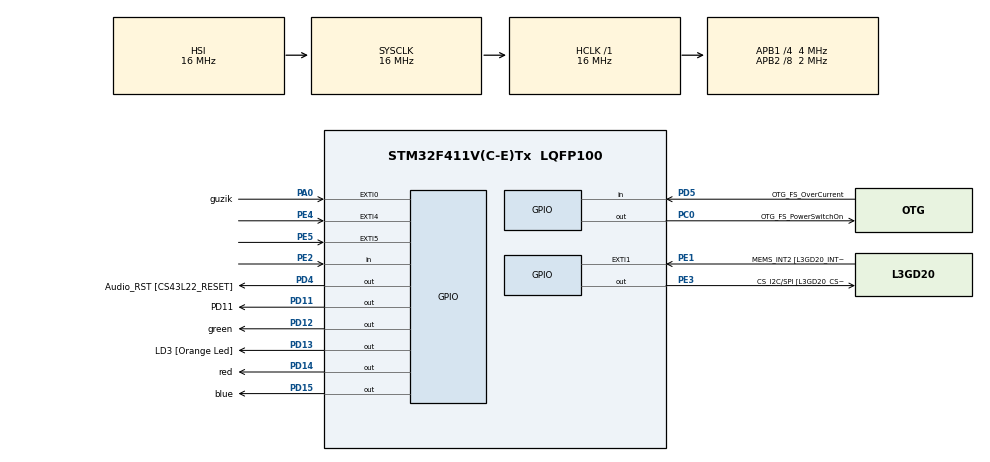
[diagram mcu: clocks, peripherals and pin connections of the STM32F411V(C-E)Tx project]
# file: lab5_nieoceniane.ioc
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ADC1.Channel-0\#ChannelRegularConversion=ADC_CHANNEL_TEMPSENSOR
ADC1.ClockPrescaler=ADC_CLOCK_SYNC_PCLK_DIV2
ADC1.ContinuousConvMode=ENABLE
ADC1.DMAContinuousRequests=ENABLE
ADC1.NbrOfConversionFlag=1
ADC1.Rank-0\#ChannelRegularConversion=1
ADC1.SamplingTime-0\#ChannelRegularConversion=ADC_SAMPLETIME_3CYCLES
ADC1.master=1
Dma.ADC1.0.Direction=DMA_PERIPH_TO_MEMORY
Dma.ADC1.0.FIFOMode=DMA_FIFOMODE_DISABLE
Dma.ADC1.0.Instance=DMA2_Stream0
Dma.ADC1.0.MemDataAlignment=DMA_MDATAALIGN_HALFWORD
Dma.ADC1.0.MemInc=DMA_MINC_ENABLE
Dma.ADC1.0.Mode=DMA_CIRCULAR
Dma.ADC1.0.PeriphDataAlignment=DMA_PDATAALIGN_HALFWORD
Dma.ADC1.0.PeriphInc=DMA_PINC_DISABLE
Dma.ADC1.0.Priority=DMA_PRIORITY_LOW
Dma.Request0=ADC1
Mcu.Family=STM32F4
Mcu.Name=STM32F411V(C-E)Tx
Mcu.Package=LQFP100
NVIC.DMA2_Stream0_IRQn=true\:0\:0\:false\:false\:true\:false\:true\:true
NVIC.EXTI0_IRQn=true\:0\:0\:false\:false\:true\:true\:true\:true
NVIC.PriorityGroup=NVIC_PRIORITYGROUP_0
PA0-WKUP.GPIO_Label=guzik
PA0-WKUP.GPIO_ModeDefaultEXTI=GPIO_MODE_IT_RISING
PA0-WKUP.Signal=GPXTI0
PA10.GPIO_Label=OTG_FS_ID
PA10.Signal=USB_OTG_FS_ID
PA11.GPIO_Label=OTG_FS_DM
PA11.Signal=USB_OTG_FS_DM
PA12.GPIO_Label=OTG_FS_DP
PA12.Signal=USB_OTG_FS_DP
PA13.GPIO_Label=SWDIO
PA13.Signal=SYS_JTMS-SWDIO
PA14.GPIO_Label=SWCLK
PA14.Signal=SYS_JTCK-SWCLK
PA4.GPIO_Label=I2S3_WS [CS43L22_LRCK]
PA4.GPIO_Mode=GPIO_MODE_AF_PP
PA4.GPIO_PuPd=GPIO_NOPULL
PA4.GPIO_Speed=GPIO_SPEED_FREQ_LOW
PA4.Signal=I2S3_WS
PA5.GPIO_Label=SPI1_SCK [L3GD20_SC/SPC]
PA5.Signal=SPI1_SCK
PA6.GPIO_Label=SPI1_MISO [L3GD20_AS0/SDO]
PA6.Signal=SPI1_MISO
PA7.GPIO_Label=SPI1_MOSI [L3GD20_SDA/SDI/SDO]
PA7.Signal=SPI1_MOSI
PA9.GPIO_Label=VBUS_FS
PA9.Signal=USB_OTG_FS_VBUS
PB10.GPIO_Label=CLK_IN [MP45DT02_CLK]
PB10.Signal=I2S2_CK
PB12.Signal=I2S2_WS
PB3.GPIO_Label=SWO
PB3.Signal=SYS_JTDO-SWO
PB6.GPIO_Label=Audio_SCL [CS43L22_SCL]
PB6.GPIO_Mode=GPIO_MODE_AF_OD
PB6.GPIO_PuPd=GPIO_NOPULL
PB6.GPIO_Speed=GPIO_SPEED_FREQ_LOW
PB6.Signal=I2C1_SCL
PB9.GPIO_Label=Audio_SDA [CS43L22_SDA]
PB9.GPIO_Mode=GPIO_MODE_AF_OD
PB9.GPIO_PuPd=GPIO_NOPULL
PB9.GPIO_Speed=GPIO_SPEED_FREQ_LOW
PB9.Signal=I2C1_SDA
PC0.GPIO_Label=OTG_FS_PowerSwitchOn
PC0.PinState=GPIO_PIN_SET
PC0.Signal=GPIO_Output
PC10.GPIO_Label=I2S3_SCK [CS43L22_SCLK]
PC10.GPIO_Mode=GPIO_MODE_AF_PP
PC10.GPIO_PuPd=GPIO_NOPULL
PC10.GPIO_Speed=GPIO_SPEED_FREQ_LOW
PC10.Signal=I2S3_CK
PC12.GPIO_Label=I2S3_SD [CS43L22_SDIN]
PC12.GPIO_Mode=GPIO_MODE_AF_PP
PC12.GPIO_PuPd=GPIO_NOPULL
PC12.GPIO_Speed=GPIO_SPEED_FREQ_LOW
PC12.Signal=I2S3_SD
PC14-OSC32_IN.GPIO_Label=PC14-OSC32_IN
PC14-OSC32_IN.Signal=RCC_OSC32_IN
PC15-OSC32_OUT.GPIO_Label=PC15-OSC32_OUT
PC15-OSC32_OUT.Signal=RCC_OSC32_OUT
PC3.GPIO_Label=PDM_OUT [MP45DT02_DOUT]
PC3.Signal=I2S2_SD
PC7.GPIO_Label=I2S3_MCK [CS43L22_MCLK]
PC7.GPIO_Mode=GPIO_MODE_AF_PP
PC7.GPIO_PuPd=GPIO_NOPULL
PC7.GPIO_Speed=GPIO_SPEED_FREQ_LOW
PC7.Signal=I2S3_MCK
PD11.GPIO_Label=PD11
PD11.Signal=GPIO_Output
PD12.GPIO_Label=green
PD12.GPIO_PuPd=GPIO_NOPULL
PD12.GPIO_Speed=GPIO_SPEED_FREQ_LOW
PD12.Signal=GPIO_Output
PD13.GPIO_Label=LD3 [Orange Led]
PD13.GPIO_PuPd=GPIO_NOPULL
PD13.GPIO_Speed=GPIO_SPEED_FREQ_LOW
PD13.Signal=GPIO_Output
PD14.GPIO_Label=red
PD14.GPIO_PuPd=GPIO_NOPULL
PD14.GPIO_Speed=GPIO_SPEED_FREQ_LOW
PD14.Signal=GPIO_Output
PD15.GPIO_Label=blue
PD15.GPIO_PuPd=GPIO_NOPULL
PD15.GPIO_Speed=GPIO_SPEED_FREQ_LOW
PD15.Signal=GPIO_Output
PD4.GPIO_Label=Audio_RST [CS43L22_RESET]
PD4.Signal=GPIO_Output
PD5.GPIO_Label=OTG_FS_OverCurrent
PD5.Signal=GPIO_Input
PE1.GPIO_Label=MEMS_INT2 [L3GD20_INT2]
PE1.GPIO_ModeDefaultEXTI=GPIO_MODE_EVT_RISING
PE1.Signal=GPXTI1
PE2.Signal=GPIO_Input
PE3.GPIO_Label=CS_I2C/SPI [L3GD20_CS_I2C/SPI]
PE3.Signal=GPIO_Output
PE4.GPIO_ModeDefaultEXTI=GPIO_MODE_EVT_RISING
PE4.Signal=GPXTI4
PE5.GPIO_ModeDefaultEXTI=GPIO_MODE_EVT_RISING
PE5.Signal=GPXTI5
PH0\ -\ OSC_IN.GPIO_Label=PH0-OSC_IN
PH0\ -\ OSC_IN.Signal=RCC_OSC_IN
PH1\ -\ OSC_OUT.GPIO_Label=PH1-OSC_OUT
PH1\ -\ OSC_OUT.Signal=RCC_OSC_OUT
ProjectManager.HeapSize=0x200
ProjectManager.StackSize=0x400
ProjectManager.TargetToolchain=STM32CubeIDE
RCC.48MHZClocksFreq_Value=32000000
RCC.AHBFreq_Value=16000000
RCC.APB1CLKDivider=RCC_HCLK_DIV4
RCC.APB1Freq_Value=4000000
RCC.APB1TimFreq_Value=8000000
RCC.APB2CLKDivider=RCC_HCLK_DIV8
RCC.APB2Freq_Value=2000000
RCC.APB2TimFreq_Value=4000000
RCC.CortexFreq_Value=2000000
RCC.Cortex_Div=SYSTICK_CLKSOURCE_HCLK_DIV8
RCC.HCLKFreq_Value=16000000
RCC.HSE_VALUE=8000000
RCC.HSI_VALUE=16000000
RCC.LSE_VALUE=32768
RCC.PLLI2SM=5
RCC.PLLI2SN=200
RCC.PLLM=4
RCC.PLLN=64
RCC.PLLQ=8
RCC.RCC_RTC_Clock_Source_FROM_HSE=RCC_RTCCLKSOURCE_HSE_DIV30
RCC.SYSCLKFreq_VALUE=16000000
RCC.VCOOutputFreq_Value=256000000
VP_ADC1_TempSens_Input.Mode=IN-TempSens
VP_RTC_VS_RTC_Activate.Mode=RTC_Enabled
VP_TIM2_VS_ClockSourceINT.Mode=Internal
board=STM32F411E-DISCO

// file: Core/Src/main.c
/* USER CODE BEGIN Header */
/**
  ******************************************************************************
  * @file           : main.c
  * @brief          : Main program body
  ******************************************************************************
  * @attention
  *
  * Copyright (c) 2023 STMicroelectronics.
  * All rights reserved.
  *
  * This software is licensed under terms that can be found in the LICENSE file
  * in the root directory of this software component.
  * If no LICENSE file comes with this software, it is provided AS-IS.
  *
  ******************************************************************************
  */
/* USER CODE END Header */
#include "main.h"

ADC_HandleTypeDef hadc1;
DMA_HandleTypeDef hdma_adc1;

RTC_HandleTypeDef hrtc;

TIM_HandleTypeDef htim2;

void SystemClock_Config(void);
static void MX_GPIO_Init(void);
static void MX_DMA_Init(void);
static void MX_RTC_Init(void);
static void MX_ADC1_Init(void);
static void MX_TIM2_Init(void);

/* USER CODE BEGIN 0 */
uint32_t hash(uint32_t x)
{
	uint32_t y;
	for(int i = 0; i<20; i++)
	{
		y = pow(i,100)*i;
		x++;
		y = y * x%7;
	}
	return y%2;
}

uint16_t dane[16];
/* USER CODE END 0 */

int main(void)
{

  /* MCU Configuration--------------------------------------------------------*/

  /* Reset of all peripherals, Initializes the Flash interface and the Systick. */
  HAL_Init();

  /* Configure the system clock */
  SystemClock_Config();

  /* Initialize all configured peripherals */
  MX_GPIO_Init();
  MX_DMA_Init();
  MX_RTC_Init();
  MX_ADC1_Init();
  MX_TIM2_Init();
  /* USER CODE BEGIN 2 */
  HAL_TIM_Base_Start(&htim2);
   HAL_ADC_Start_DMA(&hadc1, &dane, 12);
  /* USER CODE END 2 */

  /* Infinite loop */
  /* USER CODE BEGIN WHILE */
  while (1)
  {
	 for(int i=0; i<14; i++)
	  {
		  //HAL_GPIO_TogglePin(blue_GPIO_Port, blue_Pin);
		 uint32_t o = hash(12345*i*i*i);
		 HAL_GPIO_WritePin(PD11_GPIO_Port, PD11_Pin, o);
		  HAL_Delay(200);
	 }

	 //HAL_SuspendTick();
	 //HAL_PWR_EnterSLEEPMode(PWR_MAINREGULATOR_ON, PWR_SLEEPENTRY_WFI);
	 //HAL_PWR_EnterSTOPMode(PWR_LOWPOWERREGULATOR_ON, PWR_STOPENTRY_WFI);

__HAL_PWR_CLEAR_FLAG(PWR_FLAG_WU);
__HAL_RTC_WAKEUPTIMER_CLEAR_FLAG(&hrtc, RTC_FLAG_WUTF);
//HAL_PWR_EnableWakeUpPin(PWR_WAKEUP_PIN1);
HAL_RTCEx_SetWakeUpTimer_IT(&hrtc, 1000, RTC_WAKEUPCLOCK_RTCCLK_DIV16);
HAL_PWR_EnterSTANDBYMode();

    /* USER CODE END WHILE */

  }
}

void SystemClock_Config(void)
{
  RCC_OscInitTypeDef RCC_OscInitStruct = {0};
  RCC_ClkInitTypeDef RCC_ClkInitStruct = {0};

  /** Configure the main internal regulator output voltage
  */
  __HAL_RCC_PWR_CLK_ENABLE();
  __HAL_PWR_VOLTAGESCALING_CONFIG(PWR_REGULATOR_VOLTAGE_SCALE1);

  /** Initializes the RCC Oscillators according to the specified parameters
  * in the RCC_OscInitTypeDef structure.
  */
  RCC_OscInitStruct.OscillatorType = RCC_OSCILLATORTYPE_HSI|RCC_OSCILLATORTYPE_LSI;
  RCC_OscInitStruct.HSIState = RCC_HSI_ON;
  RCC_OscInitStruct.HSICalibrationValue = RCC_HSICALIBRATION_DEFAULT;
  RCC_OscInitStruct.LSIState = RCC_LSI_ON;
  RCC_OscInitStruct.PLL.PLLState = RCC_PLL_NONE;
  if (HAL_RCC_OscConfig(&RCC_OscInitStruct) != HAL_OK)
  {
    Error_Handler();
  }

  /** Initializes the CPU, AHB and APB buses clocks
  */
  RCC_ClkInitStruct.ClockType = RCC_CLOCKTYPE_HCLK|RCC_CLOCKTYPE_SYSCLK
                              |RCC_CLOCKTYPE_PCLK1|RCC_CLOCKTYPE_PCLK2;
  RCC_ClkInitStruct.SYSCLKSource = RCC_SYSCLKSOURCE_HSI;
  RCC_ClkInitStruct.AHBCLKDivider = RCC_SYSCLK_DIV1;
  RCC_ClkInitStruct.APB1CLKDivider = RCC_HCLK_DIV4;
  RCC_ClkInitStruct.APB2CLKDivider = RCC_HCLK_DIV8;

  if (HAL_RCC_ClockConfig(&RCC_ClkInitStruct, FLASH_LATENCY_0) != HAL_OK)
  {
    Error_Handler();
  }
}

static void MX_ADC1_Init(void)
{

  ADC_ChannelConfTypeDef sConfig = {0};

  /** Configure the global features of the ADC (Clock, Resolution, Data Alignment and number of conversion)
  */
  hadc1.Instance = ADC1;
  hadc1.Init.ClockPrescaler = ADC_CLOCK_SYNC_PCLK_DIV2;
  hadc1.Init.Resolution = ADC_RESOLUTION_12B;
  hadc1.Init.ScanConvMode = DISABLE;
  hadc1.Init.ContinuousConvMode = ENABLE;
  hadc1.Init.DiscontinuousConvMode = DISABLE;
  hadc1.Init.ExternalTrigConvEdge = ADC_EXTERNALTRIGCONVEDGE_NONE;
  hadc1.Init.ExternalTrigConv = ADC_SOFTWARE_START;
  hadc1.Init.DataAlign = ADC_DATAALIGN_RIGHT;
  hadc1.Init.NbrOfConversion = 1;
  hadc1.Init.DMAContinuousRequests = ENABLE;
  hadc1.Init.EOCSelection = ADC_EOC_SINGLE_CONV;
  if (HAL_ADC_Init(&hadc1) != HAL_OK)
  {
    Error_Handler();
  }

  /** Configure for the selected ADC regular channel its corresponding rank in the sequencer and its sample time.
  */
  sConfig.Channel = ADC_CHANNEL_TEMPSENSOR;
  sConfig.Rank = 1;
  sConfig.SamplingTime = ADC_SAMPLETIME_3CYCLES;
  if (HAL_ADC_ConfigChannel(&hadc1, &sConfig) != HAL_OK)
  {
    Error_Handler();
  }

}

static void MX_RTC_Init(void)
{

  /** Initialize RTC Only
  */
  hrtc.Instance = RTC;
  hrtc.Init.HourFormat = RTC_HOURFORMAT_24;
  hrtc.Init.AsynchPrediv = 127;
  hrtc.Init.SynchPrediv = 255;
  hrtc.Init.OutPut = RTC_OUTPUT_DISABLE;
  hrtc.Init.OutPutPolarity = RTC_OUTPUT_POLARITY_HIGH;
  hrtc.Init.OutPutType = RTC_OUTPUT_TYPE_OPENDRAIN;
  if (HAL_RTC_Init(&hrtc) != HAL_OK)
  {
    Error_Handler();
  }

}

static void MX_TIM2_Init(void)
{

  TIM_ClockConfigTypeDef sClockSourceConfig = {0};
  TIM_MasterConfigTypeDef sMasterConfig = {0};

  htim2.Instance = TIM2;
  htim2.Init.Prescaler = 0;
  htim2.Init.CounterMode = TIM_COUNTERMODE_UP;
  htim2.Init.Period = 4294967295;
  htim2.Init.ClockDivision = TIM_CLOCKDIVISION_DIV1;
  htim2.Init.AutoReloadPreload = TIM_AUTORELOAD_PRELOAD_DISABLE;
  if (HAL_TIM_Base_Init(&htim2) != HAL_OK)
  {
    Error_Handler();
  }
  sClockSourceConfig.ClockSource = TIM_CLOCKSOURCE_INTERNAL;
  if (HAL_TIM_ConfigClockSource(&htim2, &sClockSourceConfig) != HAL_OK)
  {
    Error_Handler();
  }
  sMasterConfig.MasterOutputTrigger = TIM_TRGO_RESET;
  sMasterConfig.MasterSlaveMode = TIM_MASTERSLAVEMODE_DISABLE;
  if (HAL_TIMEx_MasterConfigSynchronization(&htim2, &sMasterConfig) != HAL_OK)
  {
    Error_Handler();
  }

}

static void MX_DMA_Init(void)
{

  /* DMA controller clock enable */
  __HAL_RCC_DMA2_CLK_ENABLE();

  /* DMA interrupt init */
  /* DMA2_Stream0_IRQn interrupt configuration */
  HAL_NVIC_SetPriority(DMA2_Stream0_IRQn, 0, 0);
  HAL_NVIC_EnableIRQ(DMA2_Stream0_IRQn);

}

static void MX_GPIO_Init(void)
{
  GPIO_InitTypeDef GPIO_InitStruct = {0};

  /* GPIO Ports Clock Enable */
  __HAL_RCC_GPIOE_CLK_ENABLE();
  __HAL_RCC_GPIOC_CLK_ENABLE();
  __HAL_RCC_GPIOH_CLK_ENABLE();
  __HAL_RCC_GPIOA_CLK_ENABLE();
  __HAL_RCC_GPIOB_CLK_ENABLE();
  __HAL_RCC_GPIOD_CLK_ENABLE();

  /*Configure GPIO pin Output Level */
  HAL_GPIO_WritePin(CS_I2C_SPI_GPIO_Port, CS_I2C_SPI_Pin, GPIO_PIN_RESET);

  /*Configure GPIO pin Output Level */
  HAL_GPIO_WritePin(OTG_FS_PowerSwitchOn_GPIO_Port, OTG_FS_PowerSwitchOn_Pin, GPIO_PIN_SET);

  /*Configure GPIO pin Output Level */
  HAL_GPIO_WritePin(GPIOD, PD11_Pin|green_Pin|LD3_Pin|red_Pin
                          |blue_Pin|Audio_RST_Pin, GPIO_PIN_RESET);

  /*Configure GPIO pin : PE2 */
  GPIO_InitStruct.Pin = GPIO_PIN_2;
  GPIO_InitStruct.Mode = GPIO_MODE_INPUT;
  GPIO_InitStruct.Pull = GPIO_NOPULL;
  HAL_GPIO_Init(GPIOE, &GPIO_InitStruct);

  /*Configure GPIO pin : CS_I2C_SPI_Pin */
  GPIO_InitStruct.Pin = CS_I2C_SPI_Pin;
  GPIO_InitStruct.Mode = GPIO_MODE_OUTPUT_PP;
  GPIO_InitStruct.Pull = GPIO_NOPULL;
  GPIO_InitStruct.Speed = GPIO_SPEED_FREQ_LOW;
  HAL_GPIO_Init(CS_I2C_SPI_GPIO_Port, &GPIO_InitStruct);

  /*Configure GPIO pins : PE4 PE5 MEMS_INT2_Pin */
  GPIO_InitStruct.Pin = GPIO_PIN_4|GPIO_PIN_5|MEMS_INT2_Pin;
  GPIO_InitStruct.Mode = GPIO_MODE_EVT_RISING;
  GPIO_InitStruct.Pull = GPIO_NOPULL;
  HAL_GPIO_Init(GPIOE, &GPIO_InitStruct);

  /*Configure GPIO pin : OTG_FS_PowerSwitchOn_Pin */
  GPIO_InitStruct.Pin = OTG_FS_PowerSwitchOn_Pin;
  GPIO_InitStruct.Mode = GPIO_MODE_OUTPUT_PP;
  GPIO_InitStruct.Pull = GPIO_NOPULL;
  GPIO_InitStruct.Speed = GPIO_SPEED_FREQ_LOW;
  HAL_GPIO_Init(OTG_FS_PowerSwitchOn_GPIO_Port, &GPIO_InitStruct);

  /*Configure GPIO pin : PDM_OUT_Pin */
  GPIO_InitStruct.Pin = PDM_OUT_Pin;
  GPIO_InitStruct.Mode = GPIO_MODE_AF_PP;
  GPIO_InitStruct.Pull = GPIO_NOPULL;
  GPIO_InitStruct.Speed = GPIO_SPEED_FREQ_LOW;
  GPIO_InitStruct.Alternate = GPIO_AF5_SPI2;
  HAL_GPIO_Init(PDM_OUT_GPIO_Port, &GPIO_InitStruct);

  /*Configure GPIO pin : guzik_Pin */
  GPIO_InitStruct.Pin = guzik_Pin;
  GPIO_InitStruct.Mode = GPIO_MODE_IT_RISING;
  GPIO_InitStruct.Pull = GPIO_NOPULL;
  HAL_GPIO_Init(guzik_GPIO_Port, &GPIO_InitStruct);

  /*Configure GPIO pin : I2S3_WS_Pin */
  GPIO_InitStruct.Pin = I2S3_WS_Pin;
  GPIO_InitStruct.Mode = GPIO_MODE_AF_PP;
  GPIO_InitStruct.Pull = GPIO_NOPULL;
  GPIO_InitStruct.Speed = GPIO_SPEED_FREQ_LOW;
  GPIO_InitStruct.Alternate = GPIO_AF6_SPI3;
  HAL_GPIO_Init(I2S3_WS_GPIO_Port, &GPIO_InitStruct);

  /*Configure GPIO pins : SPI1_SCK_Pin SPI1_MISO_Pin SPI1_MOSI_Pin */
  GPIO_InitStruct.Pin = SPI1_SCK_Pin|SPI1_MISO_Pin|SPI1_MOSI_Pin;
  GPIO_InitStruct.Mode = GPIO_MODE_AF_PP;
  GPIO_InitStruct.Pull = GPIO_NOPULL;
  GPIO_InitStruct.Speed = GPIO_SPEED_FREQ_VERY_HIGH;
  GPIO_InitStruct.Alternate = GPIO_AF5_SPI1;
  HAL_GPIO_Init(GPIOA, &GPIO_InitStruct);

  /*Configure GPIO pins : CLK_IN_Pin PB12 */
  GPIO_InitStruct.Pin = CLK_IN_Pin|GPIO_PIN_12;
  GPIO_InitStruct.Mode = GPIO_MODE_AF_PP;
  GPIO_InitStruct.Pull = GPIO_NOPULL;
  GPIO_InitStruct.Speed = GPIO_SPEED_FREQ_LOW;
  GPIO_InitStruct.Alternate = GPIO_AF5_SPI2;
  HAL_GPIO_Init(GPIOB, &GPIO_InitStruct);

  /*Configure GPIO pins : PD11_Pin green_Pin LD3_Pin red_Pin
                           blue_Pin Audio_RST_Pin */
  GPIO_InitStruct.Pin = PD11_Pin|green_Pin|LD3_Pin|red_Pin
                          |blue_Pin|Audio_RST_Pin;
  GPIO_InitStruct.Mode = GPIO_MODE_OUTPUT_PP;
  GPIO_InitStruct.Pull = GPIO_NOPULL;
  GPIO_InitStruct.Speed = GPIO_SPEED_FREQ_LOW;
  HAL_GPIO_Init(GPIOD, &GPIO_InitStruct);

  /*Configure GPIO pins : I2S3_MCK_Pin I2S3_SCK_Pin I2S3_SD_Pin */
  GPIO_InitStruct.Pin = I2S3_MCK_Pin|I2S3_SCK_Pin|I2S3_SD_Pin;
  GPIO_InitStruct.Mode = GPIO_MODE_AF_PP;
  GPIO_InitStruct.Pull = GPIO_NOPULL;
  GPIO_InitStruct.Speed = GPIO_SPEED_FREQ_LOW;
  GPIO_InitStruct.Alternate = GPIO_AF6_SPI3;
  HAL_GPIO_Init(GPIOC, &GPIO_InitStruct);

  /*Configure GPIO pin : VBUS_FS_Pin */
  GPIO_InitStruct.Pin = VBUS_FS_Pin;
  GPIO_InitStruct.Mode = GPIO_MODE_INPUT;
  GPIO_InitStruct.Pull = GPIO_NOPULL;
  HAL_GPIO_Init(VBUS_FS_GPIO_Port, &GPIO_InitStruct);

  /*Configure GPIO pins : OTG_FS_ID_Pin OTG_FS_DM_Pin OTG_FS_DP_Pin */
  GPIO_InitStruct.Pin = OTG_FS_ID_Pin|OTG_FS_DM_Pin|OTG_FS_DP_Pin;
  GPIO_InitStruct.Mode = GPIO_MODE_AF_PP;
  GPIO_InitStruct.Pull = GPIO_NOPULL;
  GPIO_InitStruct.Speed = GPIO_SPEED_FREQ_VERY_HIGH;
  GPIO_InitStruct.Alternate = GPIO_AF10_OTG_FS;
  HAL_GPIO_Init(GPIOA, &GPIO_InitStruct);

  /*Configure GPIO pin : OTG_FS_OverCurrent_Pin */
  GPIO_InitStruct.Pin = OTG_FS_OverCurrent_Pin;
  GPIO_InitStruct.Mode = GPIO_MODE_INPUT;
  GPIO_InitStruct.Pull = GPIO_NOPULL;
  HAL_GPIO_Init(OTG_FS_OverCurrent_GPIO_Port, &GPIO_InitStruct);

  /*Configure GPIO pins : Audio_SCL_Pin Audio_SDA_Pin */
  GPIO_InitStruct.Pin = Audio_SCL_Pin|Audio_SDA_Pin;
  GPIO_InitStruct.Mode = GPIO_MODE_AF_OD;
  GPIO_InitStruct.Pull = GPIO_NOPULL;
  GPIO_InitStruct.Speed = GPIO_SPEED_FREQ_LOW;
  GPIO_InitStruct.Alternate = GPIO_AF4_I2C1;
  HAL_GPIO_Init(GPIOB, &GPIO_InitStruct);

  /* EXTI interrupt init*/
  HAL_NVIC_SetPriority(EXTI0_IRQn, 0, 0);
  HAL_NVIC_EnableIRQ(EXTI0_IRQn);

}

/* USER CODE BEGIN 4 */
HAL_GPIO_EXTI_Callback(guzik_EXTI_IRQn){
	//HAL_GPIO_TogglePin(green_GPIO_Port, green_Pin);
	// HAL_ResumeTick();
	// SystemClock_Config();
	//__HAL_PWR_CLEAR_FLAG(PWR_FLAG_WU);
}

/* USER CODE END 4 */

void Error_Handler(void)
{
  __disable_irq();
  while (1)
  {
  }
}
